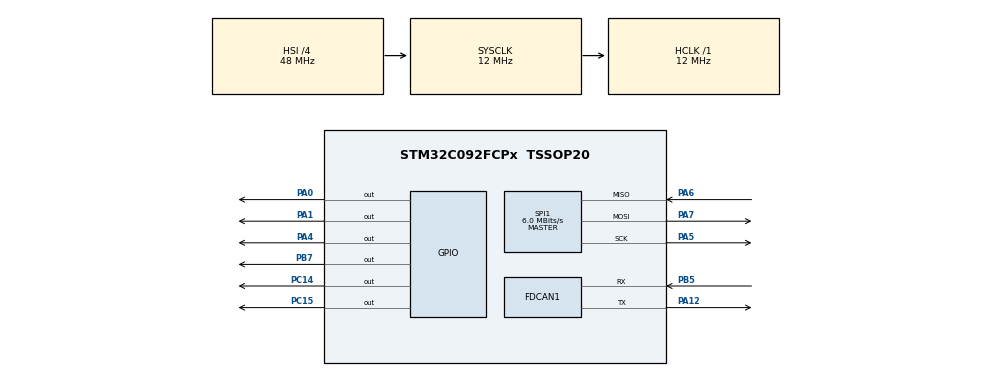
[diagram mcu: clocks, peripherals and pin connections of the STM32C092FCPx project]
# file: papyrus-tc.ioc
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FDCAN1.AutoRetransmission=ENABLE
FDCAN1.CalculateBaudRateNominal=250000
FDCAN1.CalculateTimeBitNominal=4000
FDCAN1.CalculateTimeQuantumNominal=250.0
FDCAN1.NominalPrescaler=4
FDCAN1.NominalTimeSeg1=13
FDCAN1.NominalTimeSeg2=2
FDCAN1.StdFiltersNbr=1
Mcu.Family=STM32C0
Mcu.Name=STM32C092FCPx
Mcu.Package=TSSOP20
PA0.Signal=GPIO_Output
PA1.Signal=GPIO_Output
PA12\ [PA10].Mode=FDCAN_Activate
PA12\ [PA10].Signal=FDCAN1_TX
PA13.Mode=Serial_Wire
PA13.Signal=DEBUG_SWDIO
PA14-BOOT0.Mode=Serial_Wire
PA14-BOOT0.Signal=DEBUG_SWCLK
PA14-BOOT0__PA15.StandardMode=true
PA4.PinState=GPIO_PIN_SET
PA4.Signal=GPIO_Output
PA5.Mode=Full_Duplex_Master
PA5.Signal=SPI1_SCK
PA6.Mode=Full_Duplex_Master
PA6.Signal=SPI1_MISO
PA7.Mode=Full_Duplex_Master
PA7.Signal=SPI1_MOSI
PB0__PB1__PB2__PA8.StandardMode=true
PB3__PB4__PB5__PB6.StandardMode=true
PB5.Mode=FDCAN_Activate
PB5.Signal=FDCAN1_RX
PB7.PinState=GPIO_PIN_SET
PB7.Signal=GPIO_Output
PB7__PB8.StandardMode=true
PC14-OSCX_IN(PC14).PinState=GPIO_PIN_SET
PC14-OSCX_IN(PC14).Signal=GPIO_Output
PC15-OSCX_OUT(PC15).PinState=GPIO_PIN_SET
PC15-OSCX_OUT(PC15).Signal=GPIO_Output
ProjectManager.HeapSize=0x200
ProjectManager.StackSize=0x400
ProjectManager.TargetToolchain=Makefile
RCC.ADCFreq_Value=12000000
RCC.AHBFreq_Value=12000000
RCC.CortexFreq_Value=12000000
RCC.EXTERNAL_CLOCK_VALUE=12288000
RCC.FDCAN1CLockSelection=RCC_FDCAN1CLKSOURCE_HSIKER
RCC.HCLKFreq_Value=12000000
RCC.HSE_VALUE=8000000
RCC.HSI_VALUE=48000000
RCC.LSE_VALUE=32768
RCC.SYSCLKFreq_VALUE=12000000
SPI1.CalculateBaudRate=6.0 MBits/s
SPI1.DataSize=SPI_DATASIZE_8BIT
SPI1.Direction=SPI_DIRECTION_2LINES
SPI1.Mode=SPI_MODE_MASTER
SPI1.VirtualType=VM_MASTER
board=custom

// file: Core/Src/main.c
/* USER CODE BEGIN Header */
/**
  ******************************************************************************
  * @file           : main.c
  * @brief          : Main program body
  ******************************************************************************
  * @attention
  *
  * Copyright (c) 2026 STMicroelectronics.
  * All rights reserved.
  *
  * This software is licensed under terms that can be found in the LICENSE file
  * in the root directory of this software component.
  * If no LICENSE file comes with this software, it is provided AS-IS.
  *
  ******************************************************************************
  */
/* USER CODE END Header */
#include "main.h"

/* USER CODE BEGIN PD */
#define CAN_CMD_ID     300

/* USER CODE END PD */

FDCAN_HandleTypeDef hfdcan1;

SPI_HandleTypeDef hspi1;

void SystemClock_Config(void);
static void MX_GPIO_Init(void);
static void MX_FDCAN1_Init(void);
static void MX_SPI1_Init(void);

/* USER CODE BEGIN 0 */
typedef struct {
  int16_t thermocouple_c;
  int16_t internal_c;
  uint8_t fault;
  uint8_t fault_scg;
  uint8_t fault_scv;
  uint8_t fault_oc;
} MAX31855_Data;

HAL_StatusTypeDef MAX31855_Read(SPI_HandleTypeDef *hspi,
                                GPIO_TypeDef *cs_port,
                                uint16_t cs_pin,
                                MAX31855_Data *out) {
  uint8_t rx[4];
  uint32_t raw;

  /* CS low */
  HAL_GPIO_WritePin(cs_port, cs_pin, GPIO_PIN_RESET);

  /* Read 32 bits */
  HAL_StatusTypeDef status =
  HAL_SPI_Receive(hspi, rx, 4, HAL_MAX_DELAY);

  /* CS high */
  HAL_GPIO_WritePin(cs_port, cs_pin, GPIO_PIN_SET);

  if (status != HAL_OK) {
    return status;
  }

  /* Assemble big-endian data */
  raw = ((uint32_t)rx[0] << 24) |
  ((uint32_t)rx[1] << 16) |
  ((uint32_t)rx[2] << 8)  |
  ((uint32_t)rx[3]);

  /* Fault flag */
  out->fault = (raw >> 16) & 0x01;

  /* Thermocouple temperature (14-bit signed, 0.25°C/LSB) */
  int16_t tc_raw = (raw >> 18) & 0x3FFF;
  if (tc_raw & 0x2000) {          // sign bit
    tc_raw |= 0xC000;           // sign extend
  }
  out->thermocouple_c = tc_raw;

  /* Internal temperature (12-bit signed, 0.0625°C/LSB) */
  int16_t int_raw = (raw >> 4) & 0x0FFF;
  if (int_raw & 0x0800) {
    int_raw |= 0xF000;
  }
  out->internal_c = int_raw;

  /* Fault details */
  out->fault_scg = raw & 0x01;        // short to GND
  out->fault_scv = (raw >> 1) & 0x01; // short to VCC
  out->fault_oc  = (raw >> 2) & 0x01; // open circuit

  return HAL_OK;
}

void CAN_SendAck(uint8_t *data, uint8_t len)
{
  FDCAN_TxHeaderTypeDef txHeader = {0};

  txHeader.Identifier = CAN_CMD_ID;
  txHeader.IdType = FDCAN_STANDARD_ID;
  txHeader.TxFrameType = FDCAN_DATA_FRAME;
  txHeader.DataLength = len;
  txHeader.ErrorStateIndicator = FDCAN_ESI_ACTIVE;
  txHeader.BitRateSwitch = FDCAN_BRS_OFF;
  txHeader.FDFormat = FDCAN_CLASSIC_CAN;
  txHeader.TxEventFifoControl = FDCAN_NO_TX_EVENTS;
  txHeader.MessageMarker = 0;

  while (HAL_FDCAN_GetTxFifoFreeLevel(&hfdcan1) == 0);
  HAL_FDCAN_AddMessageToTxFifoQ(&hfdcan1, &txHeader, data);
}
/* USER CODE END 0 */

int main(void)
{

  /* MCU Configuration--------------------------------------------------------*/

  /* Reset of all peripherals, Initializes the Flash interface and the Systick. */
  HAL_Init();

  /* Configure the system clock */
  SystemClock_Config();

  /* Initialize all configured peripherals */
  MX_GPIO_Init();
  MX_FDCAN1_Init();
  MX_SPI1_Init();
  /* USER CODE BEGIN 2 */
  HAL_FDCAN_Start(&hfdcan1);

  FDCAN_RxHeaderTypeDef rxHeader;
  uint8_t rxData[8];
  uint8_t txData[8];
  /* USER CODE END 2 */

  /* Infinite loop */
  while (1)
  {

    /* USER CODE BEGIN 3 */
    if (HAL_FDCAN_GetRxFifoFillLevel(&hfdcan1, FDCAN_RX_FIFO0) > 0)
    {
      HAL_FDCAN_GetRxMessage(&hfdcan1, FDCAN_RX_FIFO0, &rxHeader, rxData);

      txData[0] = rxData[0];
      txData[1] = 0x00; // OK
      MAX31855_Data thermo;

      switch (rxData[0])
      {
        case 0x00:
          txData[1] = 0x03; break;
        case 0x01:
        case 0x02:
        case 0x03:
          if (rxData[0] == 0x01) MAX31855_Read(&hspi1, GPIOB, GPIO_PIN_7, &thermo);
          if (rxData[0] == 0x02) MAX31855_Read(&hspi1, GPIOC, GPIO_PIN_14, &thermo);
          if (rxData[0] == 0x03) MAX31855_Read(&hspi1, GPIOC, GPIO_PIN_15, &thermo);
          if (thermo.fault) {
            txData[1] = 0xFF;
            txData[2] = 0xFF;
          } else {
            *(int16_t*)(txData+1) = thermo.thermocouple_c;
          }
          CAN_SendAck(txData, 3);
          continue;
        case 0x04:
        case 0x05:
        case 0x06:
          if (rxData[0] == 0x04) MAX31855_Read(&hspi1, GPIOB, GPIO_PIN_7, &thermo);
          if (rxData[0] == 0x05) MAX31855_Read(&hspi1, GPIOC, GPIO_PIN_14, &thermo);
          if (rxData[0] == 0x06) MAX31855_Read(&hspi1, GPIOC, GPIO_PIN_15, &thermo);
          txData[1] = 0;
          if (thermo.fault_oc) txData[1] |= 1;
          if (thermo.fault_scg) txData[1] |= 2;
          if (thermo.fault_scv) txData[1] |= 4;
          if (thermo.fault) txData[1] |= 8;
          *(int16_t*)(txData+2) = thermo.internal_c;
          CAN_SendAck(txData, 4);
          continue;

        case 0xFF:
          CAN_SendAck(txData, 2);
          HAL_Delay(10);
          NVIC_SystemReset();
          break;

        default:
          continue;
      }

      CAN_SendAck(txData, 2);
    }
  }
  /* USER CODE END 3 */
}

void SystemClock_Config(void)
{
  RCC_OscInitTypeDef RCC_OscInitStruct = {0};
  RCC_ClkInitTypeDef RCC_ClkInitStruct = {0};

  __HAL_FLASH_SET_LATENCY(FLASH_LATENCY_0);

  /** Initializes the RCC Oscillators according to the specified parameters
  * in the RCC_OscInitTypeDef structure.
  */
  RCC_OscInitStruct.OscillatorType = RCC_OSCILLATORTYPE_HSI;
  RCC_OscInitStruct.HSIState = RCC_HSI_ON;
  RCC_OscInitStruct.HSIDiv = RCC_HSI_DIV4;
  RCC_OscInitStruct.HSICalibrationValue = RCC_HSICALIBRATION_DEFAULT;
  if (HAL_RCC_OscConfig(&RCC_OscInitStruct) != HAL_OK)
  {
    Error_Handler();
  }

  /** Initializes the CPU, AHB and APB buses clocks
  */
  RCC_ClkInitStruct.ClockType = RCC_CLOCKTYPE_HCLK|RCC_CLOCKTYPE_SYSCLK
                              |RCC_CLOCKTYPE_PCLK1;
  RCC_ClkInitStruct.SYSCLKSource = RCC_SYSCLKSOURCE_HSI;
  RCC_ClkInitStruct.SYSCLKDivider = RCC_SYSCLK_DIV1;
  RCC_ClkInitStruct.AHBCLKDivider = RCC_HCLK_DIV1;
  RCC_ClkInitStruct.APB1CLKDivider = RCC_APB1_DIV1;

  if (HAL_RCC_ClockConfig(&RCC_ClkInitStruct, FLASH_LATENCY_0) != HAL_OK)
  {
    Error_Handler();
  }
}

static void MX_FDCAN1_Init(void)
{

  hfdcan1.Instance = FDCAN1;
  hfdcan1.Init.ClockDivider = FDCAN_CLOCK_DIV1;
  hfdcan1.Init.FrameFormat = FDCAN_FRAME_CLASSIC;
  hfdcan1.Init.Mode = FDCAN_MODE_NORMAL;
  hfdcan1.Init.AutoRetransmission = ENABLE;
  hfdcan1.Init.TransmitPause = DISABLE;
  hfdcan1.Init.ProtocolException = DISABLE;
  hfdcan1.Init.NominalPrescaler = 4;
  hfdcan1.Init.NominalSyncJumpWidth = 1;
  hfdcan1.Init.NominalTimeSeg1 = 13;
  hfdcan1.Init.NominalTimeSeg2 = 2;
  hfdcan1.Init.DataPrescaler = 1;
  hfdcan1.Init.DataSyncJumpWidth = 1;
  hfdcan1.Init.DataTimeSeg1 = 1;
  hfdcan1.Init.DataTimeSeg2 = 1;
  hfdcan1.Init.StdFiltersNbr = 1;
  hfdcan1.Init.ExtFiltersNbr = 0;
  hfdcan1.Init.TxFifoQueueMode = FDCAN_TX_FIFO_OPERATION;
  if (HAL_FDCAN_Init(&hfdcan1) != HAL_OK)
  {
    Error_Handler();
  }
  /* USER CODE BEGIN FDCAN1_Init 2 */
  FDCAN_FilterTypeDef filter = {0};
  filter.IdType = FDCAN_STANDARD_ID;
  filter.FilterIndex = 0;
  filter.FilterType = FDCAN_FILTER_DUAL;
  filter.FilterConfig = FDCAN_FILTER_TO_RXFIFO0;
  filter.FilterID1 = CAN_CMD_ID;
  filter.FilterID2 = 0;
  HAL_FDCAN_ConfigFilter(&hfdcan1, &filter);
  HAL_FDCAN_ConfigGlobalFilter(
    &hfdcan1,
    FDCAN_REJECT,  // Non-matching standard frames
    FDCAN_REJECT,  // Non-matching extended frames
    FDCAN_REJECT,  // Reject remote standard frames
    FDCAN_REJECT   // Reject remote extended frames
  );
  /* USER CODE END FDCAN1_Init 2 */

}

static void MX_SPI1_Init(void)
{

  /* SPI1 parameter configuration*/
  hspi1.Instance = SPI1;
  hspi1.Init.Mode = SPI_MODE_MASTER;
  hspi1.Init.Direction = SPI_DIRECTION_2LINES;
  hspi1.Init.DataSize = SPI_DATASIZE_8BIT;
  hspi1.Init.CLKPolarity = SPI_POLARITY_LOW;
  hspi1.Init.CLKPhase = SPI_PHASE_1EDGE;
  hspi1.Init.NSS = SPI_NSS_SOFT;
  hspi1.Init.BaudRatePrescaler = SPI_BAUDRATEPRESCALER_2;
  hspi1.Init.FirstBit = SPI_FIRSTBIT_MSB;
  hspi1.Init.TIMode = SPI_TIMODE_DISABLE;
  hspi1.Init.CRCCalculation = SPI_CRCCALCULATION_DISABLE;
  hspi1.Init.CRCPolynomial = 7;
  hspi1.Init.CRCLength = SPI_CRC_LENGTH_DATASIZE;
  hspi1.Init.NSSPMode = SPI_NSS_PULSE_ENABLE;
  if (HAL_SPI_Init(&hspi1) != HAL_OK)
  {
    Error_Handler();
  }

}

static void MX_GPIO_Init(void)
{
  GPIO_InitTypeDef GPIO_InitStruct = {0};

  /* GPIO Ports Clock Enable */
  __HAL_RCC_GPIOB_CLK_ENABLE();
  __HAL_RCC_GPIOC_CLK_ENABLE();
  __HAL_RCC_GPIOA_CLK_ENABLE();

  /*Configure GPIO pin Output Level */
  HAL_GPIO_WritePin(GPIOB, GPIO_PIN_7, GPIO_PIN_SET);

  /*Configure GPIO pin Output Level */
  HAL_GPIO_WritePin(GPIOC, GPIO_PIN_14|GPIO_PIN_15, GPIO_PIN_SET);

  /*Configure GPIO pin Output Level */
  HAL_GPIO_WritePin(GPIOA, GPIO_PIN_0|GPIO_PIN_1, GPIO_PIN_RESET);

  /*Configure GPIO pin Output Level */
  HAL_GPIO_WritePin(GPIOA, GPIO_PIN_4, GPIO_PIN_SET);

  /*Configure GPIO pin : PB7 */
  GPIO_InitStruct.Pin = GPIO_PIN_7;
  GPIO_InitStruct.Mode = GPIO_MODE_OUTPUT_PP;
  GPIO_InitStruct.Pull = GPIO_NOPULL;
  GPIO_InitStruct.Speed = GPIO_SPEED_FREQ_LOW;
  HAL_GPIO_Init(GPIOB, &GPIO_InitStruct);

  /*Configure GPIO pins : PC14 PC15 */
  GPIO_InitStruct.Pin = GPIO_PIN_14|GPIO_PIN_15;
  GPIO_InitStruct.Mode = GPIO_MODE_OUTPUT_PP;
  GPIO_InitStruct.Pull = GPIO_NOPULL;
  GPIO_InitStruct.Speed = GPIO_SPEED_FREQ_LOW;
  HAL_GPIO_Init(GPIOC, &GPIO_InitStruct);

  /*Configure GPIO pins : PA0 PA1 PA4 */
  GPIO_InitStruct.Pin = GPIO_PIN_0|GPIO_PIN_1|GPIO_PIN_4;
  GPIO_InitStruct.Mode = GPIO_MODE_OUTPUT_PP;
  GPIO_InitStruct.Pull = GPIO_NOPULL;
  GPIO_InitStruct.Speed = GPIO_SPEED_FREQ_LOW;
  HAL_GPIO_Init(GPIOA, &GPIO_InitStruct);

}

void Error_Handler(void)
{
  __disable_irq();
  while (1)
  {
  }
}
